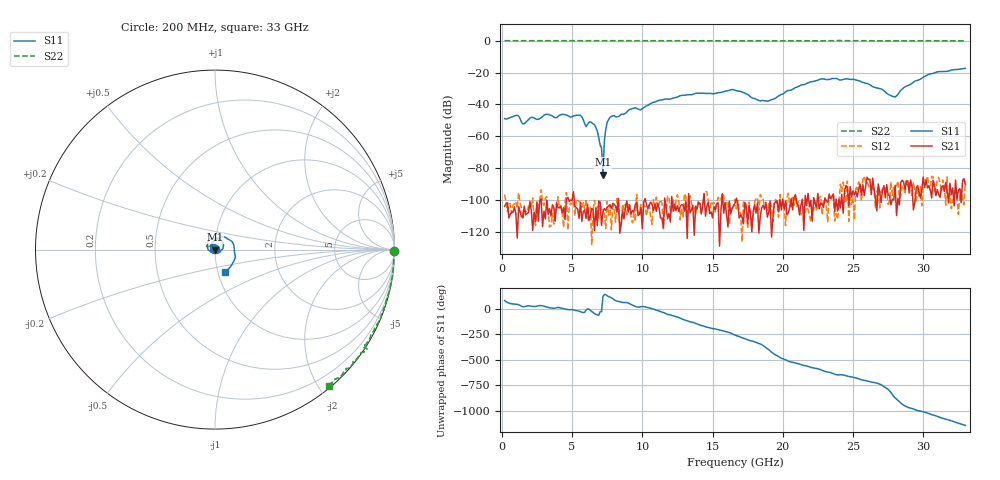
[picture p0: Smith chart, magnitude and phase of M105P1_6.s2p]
# GHZ S RI R 50
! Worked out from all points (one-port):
!   329 points, 200 MHz to 33 GHz, reference 50 ohm
!   lowest |S11| = -84.0 dB at 7.2 GHz (marker M1), VSWR 1.00, Z = 50 + j0.00546 ohm
!   |S11| at or under -10 dB: start of sweep to end of sweep
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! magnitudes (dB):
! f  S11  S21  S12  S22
! 200 MHz  -48.9  -103.9  -96.5  0.0
! 1.1 GHz  -46.8  -123.8  -105.2  0.0
! 1.5 GHz  -52.1  -111.0  -111.6  0.0
! 3.2 GHz  -46.2  -99.9  -97.8  0.0
! 5.7 GHz  -47.9  -113.2  -104.4  0.0
! 6 GHz  -53.9  -111.4  -99.3  0.0
! 6.3 GHz  -50.9  -109.8  -104.3  0.0
! 6.7 GHz  -54.5  -105.0  -105.5  0.0
! 7.1 GHz  -67.4  -115.9  -106.0  0.0
! 7.2 GHz  -84.0  -107.1  -105.9  0.0
! 7.3 GHz  -62.8  -105.3  -108.8  0.0
! 7.4 GHz  -55.6  -106.4  -117.8  0.0
! 7.7 GHz  -48.1  -103.0  -102.9  0.0
! 11.2 GHz  -37.4  -105.3  -102.0  0.0
! 16.6 GHz  -31.1  -101.8  -99.7  0.0
! 18.9 GHz  -38.0  -110.7  -106.7  -0.1
! 22.1 GHz  -25.7  -113.2  -106.2  -0.1
! 25 GHz  -24.2  -94.1  -98.3  0.0
! 27.6 GHz  -34.1  -97.1  -100.6  0.0
! 28 GHz  -35.4  -90.7  -91.7  0.0
! 30.4 GHz  -21.1  -91.1  -91.5  0.0
! 33 GHz  -17.4  -90.3  -88.3  -0.1
